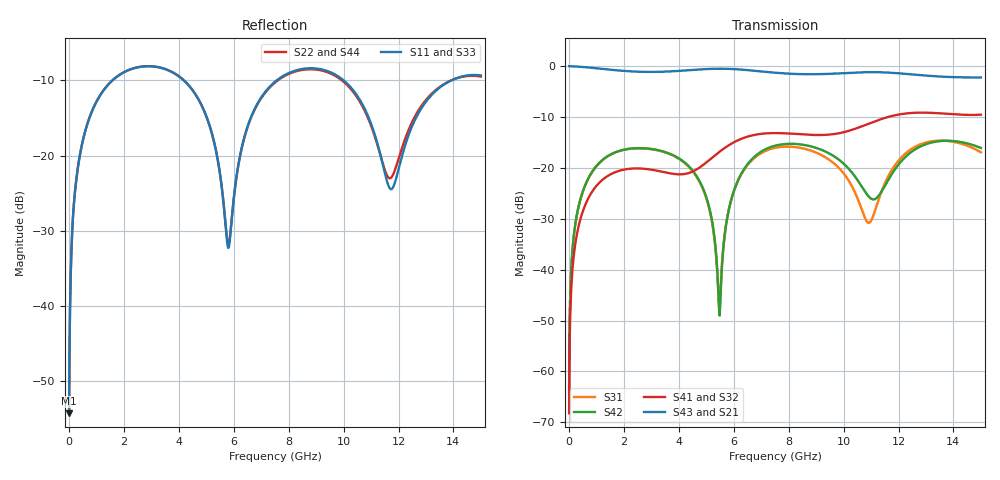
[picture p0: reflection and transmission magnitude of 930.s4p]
! Created with skrf 1.8.0 (http://scikit-rf.org).
# GHz S RI R 50.0
!freq ReS11 ImS11 ReS12 ImS12 ReS13 ImS13
! ReS14 ImS14
! ReS21 ImS21 ReS22 ImS22 ReS23 ImS23
! ReS24 ImS24
! ReS31 ImS31 ReS32 ImS32 ReS33 ImS33
! ReS34 ImS34
! ReS41 ImS41 ReS42 ImS42 ReS43 ImS43
! ReS44 ImS44
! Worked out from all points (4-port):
!   2499 points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, 5 MHz to 15 GHz, reference 50 ohm
!   strongest paths, dB at 5 MHz, 3.476 GHz, 7.19 GHz, 11.1 GHz, 15 GHz:
!     S43: 0.0, -1.1, -1.2, -1.2, -2.2
!     S21: 0.0, -1.1, -1.2, -1.2, -2.2
!     S41: -68.2, -20.9, -13.2, -10.9, -9.5
!     S32: -68.2, -20.9, -13.2, -10.9, -9.6
!     S42: -64.3, -16.8, -16.3, -26.2, -16.1
!     S31: -64.3, -16.9, -16.6, -29.1, -16.9
!   lowest |S11| = -54.2 dB at 5 MHz (marker M1), VSWR 1.00, Z = 50.2 + j0.118 ohm
!   |S11| at or under -10 dB: start of sweep to 1.576 GHz; 4.188 GHz to 7.557 GHz (3.369 GHz wide, 57.4 % of centre); 10.01 GHz to 13.91 GHz (3.904 GHz wide, 32.6 % of centre)
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0.005  0.00154 0.00118  0.9984 -0.00301  7.7e-05 0.000605  -7.49e-05 -0.00038
       0.9984 -0.00301  0.00154 0.00118  -7.49e-05 -0.00038  7.7e-05 0.000605
       7.7e-05 0.000605  -7.49e-05 -0.00038  0.00154 0.00118  0.9984 -0.00301
       -7.49e-05 -0.00038  7.7e-05 0.000605  0.9984 -0.00301  0.00154 0.00118
0.3126303  0.0217 0.0777  0.9704 -0.1875  0.00972 0.0362  -0.00815 -0.0226
           0.9704 -0.1875  0.0217 0.0777  -0.00815 -0.0226  0.00982 0.0362
           0.00972 0.0362  -0.00815 -0.0226  0.0217 0.0777  0.9704 -0.1875
           -0.00815 -0.0226  0.00982 0.0362  0.9704 -0.1875  0.0217 0.0777
1.569404  0.2559 0.1843  0.5808 -0.7111  0.1206 0.0656  -0.0872 -0.0113
          0.5808 -0.7111  0.2555 0.1846  -0.0872 -0.0113  0.122 0.0639
          0.1206 0.0656  -0.0872 -0.0113  0.256 0.1843  0.5807 -0.7111
          -0.0872 -0.0113  0.122 0.0639  0.5807 -0.7111  0.2555 0.1846
5.483535  0.0362 -0.0704  -0.9122 -0.2398  -0.00414 0.000961  -0.0321 0.1405
          -0.9122 -0.2398  0.0379 -0.0699  -0.0327 0.1404  -0.00352 0.000301
          -0.00414 0.000961  -0.0327 0.1404  0.0365 -0.0722  -0.9119 -0.2401
          -0.0321 0.1405  -0.00352 0.000301  -0.9119 -0.2401  0.0386 -0.0716
6.402668  0.0717 0.1157  -0.8843 0.2453  0.0551 0.081  0.0705 0.1858
          -0.8843 0.2453  0.0719 0.1143  0.0697 0.1861  0.062 0.0781
          0.0551 0.081  0.0697 0.1861  0.0709 0.1138  -0.8847 0.2451
          0.0705 0.1858  0.062 0.0781  -0.8847 0.2451  0.0714 0.112
9.066278  0.3758 -0.0446  0.0276 0.8318  0.1154 -0.0771  0.2004 -0.0634
          0.0276 0.8318  0.3703 -0.0367  0.2006 -0.0621  0.1156 -0.1034
          0.1154 -0.0771  0.2006 -0.0621  0.3739 -0.0447  0.029 0.8326
          0.2004 -0.0634  0.1156 -0.1034  0.029 0.8326  0.3679 -0.0377
15  0.3406 -0.0268  0.00643 -0.7755  0.0779 -0.1189  -0.3306 0.0418
    0.00643 -0.7755  0.3343 -0.0289  -0.3304 0.0378  0.0768 -0.1367
    0.0779 -0.1189  -0.3304 0.0378  0.3432 -0.0323  0.00149 -0.7744
    -0.3306 0.0418  0.0768 -0.1367  0.00149 -0.7744  0.3362 -0.0272
